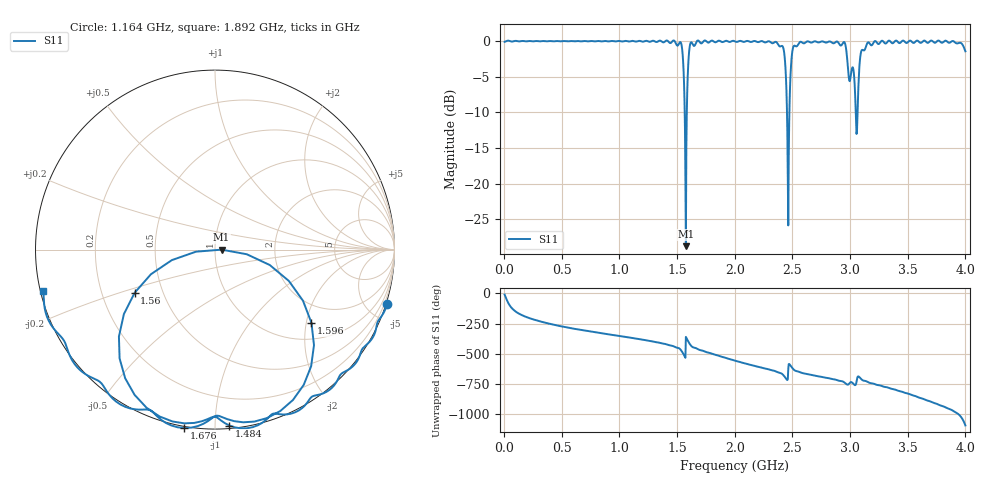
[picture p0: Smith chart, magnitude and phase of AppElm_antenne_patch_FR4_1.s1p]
! TOUCHSTONE file generated by CST MICROWAVE STUDIO
! Date and time: Tue Jun 14 12:12:42 2022
! Project name: AppElm_antenne_patch_FR4.cst
! Parameters = {L=45; W=58.5; e=0.035; h=1.6; lambda=0.190476; ls=120; w0=1.905; w1=0.847; ws=120; y0=18; y1=23.8}
! Header version: 2018
! Port assignment regex: !\s*Touchstone port\s*([0-9]+)\s*=\s*(CST MWS port|CST DS port)\s*([0-9]+|Zmin|Zmax)\s*\(\"(.*)\"\)(\s*mode\s*([0-9]+))?.*
! Touchstone port assignment:
! Touchstone port 1 = CST MWS port 1 ("")
# GHz S MA R 50
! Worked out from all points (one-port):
!   1000 points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, 4 MHz to 4 GHz, reference 50 ohm
!   lowest |S11| = -28.8 dB at 1.576 GHz (marker M1), VSWR 1.08, Z = 53.8 - j0.0353 ohm
!   |S11| at or under -10 dB: 1.566 GHz to 1.584 GHz (18.25 MHz wide, 1.16 % of centre); 2.453 GHz to 2.474 GHz (20.94 MHz wide, 0.85 % of centre); 3.049 GHz to 3.065 GHz (15.78 MHz wide, 0.516 % of centre)
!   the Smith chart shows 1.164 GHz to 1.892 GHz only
!   S11 on the Smith chart (normalised r, x): 1.164 GHz: -0.07, -6.45; 1.484 GHz: 0.02, -1.09; 1.56 GHz: 0.34, -0.22; 1.596 GHz: 1.43, -2.14; 1.676 GHz: -0.01, -0.84; 1.892 GHz: 0.01, -0.12
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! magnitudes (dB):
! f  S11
! 4 MHz  -0.1
! 504 MHz  0.0
! 1.004 GHz  0.0
! 1.164 GHz  0.0
! 1.484 GHz  -0.1
! 1.504 GHz  -0.6
! 1.54 GHz  -0.7
! 1.56 GHz  -5.9
! 1.576 GHz  -28.8
! 1.596 GHz  -3.4
! 1.604 GHz  -1.5
! 1.616 GHz  -0.3
! 1.676 GHz  0.1
! 1.892 GHz  -0.1
! 2.004 GHz  -0.1
! 2.408 GHz  -0.7
! 2.428 GHz  -1.6
! 2.448 GHz  -6.9
! 2.464 GHz  -25.9
! 2.476 GHz  -8.3
! 2.504 GHz  -1.0
! 2.94 GHz  -0.2
! 3.004 GHz  -5.1
! 3.056 GHz  -13.0
! 3.096 GHz  -1.5
! 3.148 GHz  -0.3
! 3.504 GHz  -0.1
! 4 GHz  -1.4
